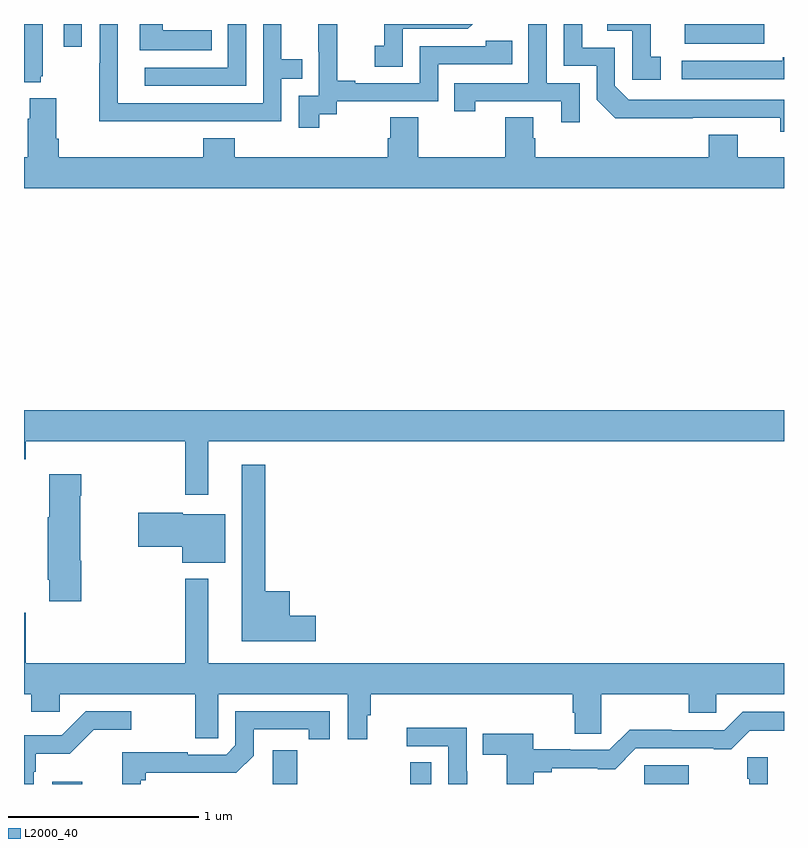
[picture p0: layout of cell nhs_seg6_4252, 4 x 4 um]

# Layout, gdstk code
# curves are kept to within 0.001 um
import gdstk
lib = gdstk.Library(unit=1e-6, precision=1e-09)
def R(c, l, rs):  # rectangles x0, y0, x1, y1
    for r in rs: c.add(gdstk.rectangle(r[:2], r[2:], *l))
def P(c, l, *ps):  # polygons
    for p in ps: c.add(gdstk.Polygon(p, *l))
L2000_40 = (2000, 40)

nhs_seg6_4252 = lib.new_cell('nhs_seg6_4252')
R(nhs_seg6_4252, L2000_40, [(361.148,977.5,361.306,977.512), (362.309,977.5,362.437,977.677), (363.032,977.5,363.144,977.615), (364.265,977.5,364.498,977.599), (361.209,981.381,361.305,981.5), (364.478,981.395,364.897,981.5)])
P(nhs_seg6_4252, L2000_40, [(362.169,981.5),(362.073,981.5),(362.073,981.27),(361.635,981.27),(361.635,981.174),(362.169,981.174)],
  [(362.554,981.025),(362.646,981.025),(362.646,981.093),(363.18,981.093),(363.18,981.288),(363.569,981.288),(363.569,981.411),(363.429,981.411),(363.429,981.384),(363.084,981.384),(363.084,981.189),(362.743,981.189),(362.743,981.202),(362.648,981.202),(362.648,981.485),(362.649,981.485),(362.649,981.5),(362.549,981.5),(362.549,981.353),(362.55,981.353),(362.55,981.123),(362.445,981.123),(362.445,980.955),(362.554,980.955)],
  [(361.988,981.466),(361.731,981.466),(361.731,981.5),(361.61,981.5),(361.61,981.362),(361.988,981.362)],
  [(365,981.102),(364.182,981.102),(364.11,981.174),(364.11,981.375),(363.937,981.375),(363.937,981.5),(363.84,981.5),(363.84,981.279),(364.014,981.279),(364.014,981.102),(364.112,981.005),(364.98,981.006),(364.98,980.933),(365,980.933)],
  [(361.859,980.988),(362.355,980.988),(362.355,981.213),(362.465,981.213),(362.465,981.314),(362.355,981.314),(362.355,981.5),(362.259,981.5),(362.259,981.084),(361.494,981.084),(361.494,981.5),(361.398,981.5),(361.398,981.293),(361.396,981.293),(361.396,980.987),(361.859,980.987)],
  [(364.351,981.327),(364.298,981.327),(364.298,981.5),(364.071,981.5),(364.071,981.465),(364.2,981.465),(364.2,981.207),(364.351,981.207)],
  [(361.088,981.225),(361.099,981.225),(361.099,981.5),(361,981.5),(361,981.194),(361.088,981.194)],
  [(362.994,981.474),(363.336,981.474),(363.362,981.5),(362.896,981.5),(362.896,981.385),(362.847,981.385),(362.847,981.276),(362.994,981.276)],
  [(363.924,981.189),(363.75,981.189),(363.75,981.5),(363.654,981.5),(363.654,981.189),(363.265,981.189),(363.265,981.042),(363.376,981.042),(363.376,981.093),(363.827,981.093),(363.827,980.982),(363.924,980.982)],
  [(365,981.326),(364.993,981.326),(364.993,981.306),(364.461,981.306),(364.461,981.21),(365,981.21)],
  [(365,980.8),(364.756,980.8),(364.756,980.917),(364.604,980.917),(364.604,980.8),(363.692,980.8),(363.692,980.898),(363.679,980.898),(363.679,981.008),(363.532,981.008),(363.532,980.8),(363.075,980.8),(363.075,981.008),(362.927,981.008),(362.927,980.898),(362.915,980.898),(362.915,980.8),(362.108,980.8),(362.108,980.899),(361.943,980.899),(361.943,980.8),(361.184,980.8),(361.184,980.896),(361.171,980.896),(361.171,981.109),(361.031,981.109),(361.031,981.002),(361.019,981.002),(361.019,980.8),(361,980.8),(361,980.636),(365,980.636)],
  [(361.969,979.304),(365,979.304),(365,979.468),(361,979.468),(361,979.208),(361.01,979.208),(361.01,979.304),(361.848,979.304),(361.848,979.023),(361.969,979.023)],
  [(362.536,978.386),(362.398,978.386),(362.398,978.514),(362.269,978.514),(362.269,979.18),(362.147,979.18),(362.147,978.251),(362.536,978.251)],
  [(361.301,978.674),(361.296,978.674),(361.296,979.016),(361.301,979.016),(361.301,979.129),(361.133,979.129),(361.133,978.905),(361.126,978.905),(361.126,978.574),(361.133,978.574),(361.133,978.462),(361.301,978.462)],
  [(362.059,978.919),(361.836,978.919),(361.836,978.927),(361.602,978.927),(361.602,978.749),(361.832,978.749),(361.832,978.665),(362.059,978.665)],
  [(362.806,977.862),(362.824,977.862),(362.824,977.972),(363.887,977.972),(363.887,977.874),(363.899,977.874),(363.899,977.764),(364.038,977.764),(364.038,977.972),(364.498,977.972),(364.498,977.874),(364.644,977.874),(364.644,977.972),(365,977.972),(365,978.136),(361.969,978.136),(361.969,978.58),(361.848,978.58),(361.848,978.136),(361.01,978.136),(361.01,978.401),(361,978.401),(361,977.972),(361.037,977.972),(361.037,977.879),(361.188,977.879),(361.188,977.972),(361.9,977.972),(361.9,977.74),(362.022,977.74),(362.022,977.972),(362.705,977.972),(362.705,977.736),(362.806,977.736)],
  [(361.05,977.564),(361.063,977.564),(361.063,977.66),(361.24,977.66),(361.366,977.786),(361.564,977.786),(361.564,977.883),(361.325,977.883),(361.199,977.757),(361,977.757),(361,977.5),(361.05,977.5)],
  [(361.614,977.52),(361.642,977.52),(361.642,977.558),(362.117,977.558),(362.208,977.649),(362.208,977.787),(362.498,977.787),(362.498,977.736),(362.608,977.736),(362.608,977.883),(362.112,977.883),(362.112,977.703),(362.064,977.655),(361.861,977.655),(361.861,977.668),(361.517,977.668),(361.517,977.5),(361.614,977.5)],
  [(363.682,977.563),(363.778,977.563),(363.778,977.583),(364.019,977.583),(364.019,977.578),(364.111,977.578),(364.221,977.688),(364.631,977.688),(364.631,977.683),(364.723,977.683),(364.821,977.781),(365,977.78),(365,977.881),(364.783,977.881),(364.686,977.784),(364.409,977.784),(364.409,977.786),(364.187,977.786),(364.08,977.679),(363.876,977.679),(363.876,977.684),(363.679,977.684),(363.679,977.764),(363.415,977.764),(363.415,977.653),(363.542,977.653),(363.542,977.5),(363.682,977.5)],
  [(363.332,977.567),(363.33,977.567),(363.33,977.797),(363.015,977.797),(363.015,977.7),(363.234,977.7),(363.234,977.5),(363.332,977.5)],
  [(364.914,977.641),(364.806,977.641),(364.806,977.528),(364.818,977.528),(364.818,977.5),(364.914,977.5)])

lib.write_gds('nhs_seg6_4252.gds')
